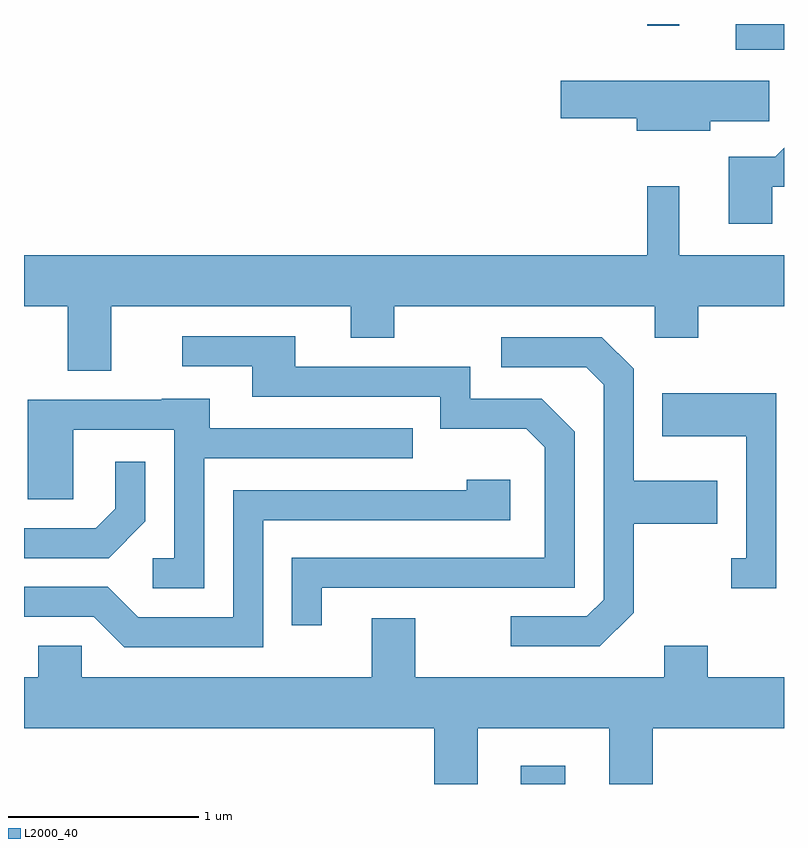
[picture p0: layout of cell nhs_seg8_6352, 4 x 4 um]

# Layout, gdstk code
import gdstk
lib = gdstk.Library(unit=1e-6, precision=1e-09)
def R(c, l, rs):  # rectangles x0, y0, x1, y1
    for r in rs: c.add(gdstk.rectangle(r[:2], r[2:], *l))
def P(c, l, *ps):  # polygons
    for p in ps: c.add(gdstk.Polygon(p, *l))
L2000_40 = (2000, 40)

nhs_seg8_6352 = lib.new_cell('nhs_seg8_6352')
R(nhs_seg8_6352, L2000_40, [(378.226,1838.342,378.459,1838.439), (379.356,1842.206,379.611,1842.342), (378.891,1842.333,379.059,1842.342)])
P(nhs_seg8_6352, L2000_40, [(379.224,1841.831),(379.534,1841.831),(379.534,1842.044),(378.436,1842.044),(378.436,1841.846),(378.836,1841.846),(378.836,1841.781),(379.224,1841.781)],
  [(379.549,1841.486),(379.611,1841.486),(379.611,1841.691),(379.564,1841.644),(379.321,1841.644),(379.321,1841.291),(379.549,1841.291)],
  [(376.069,1840.856),(377.331,1840.856),(377.331,1840.691),(377.559,1840.691),(377.559,1840.856),(378.931,1840.856),(378.931,1840.691),(379.159,1840.691),(379.159,1840.856),(379.611,1840.856),(379.611,1841.124),(379.059,1841.124),(379.059,1841.488),(378.891,1841.488),(378.891,1841.124),(375.611,1841.124),(375.611,1840.856),(375.841,1840.856),(375.841,1840.516),(376.069,1840.516)],
  [(377.179,1839.376),(378.509,1839.376),(378.509,1840.197),(378.337,1840.369),(377.959,1840.369),(377.959,1840.539),(377.039,1840.539),(377.039,1840.699),(376.443,1840.699),(376.443,1840.541),(376.811,1840.541),(376.811,1840.381),(377.801,1840.381),(377.801,1840.211),(378.254,1840.211),(378.351,1840.114),(378.351,1839.534),(377.021,1839.534),(377.021,1839.178),(377.179,1839.178)],
  [(378.819,1839.244),(378.819,1839.711),(379.259,1839.711),(379.259,1839.939),(378.819,1839.939),(378.819,1840.527),(378.652,1840.694),(378.123,1840.694),(378.123,1840.536),(378.569,1840.536),(378.661,1840.444),(378.661,1839.312),(378.574,1839.224),(378.173,1839.224),(378.173,1839.066),(378.642,1839.066)],
  [(379.569,1840.399),(378.971,1840.399),(378.971,1840.171),(379.411,1840.171),(379.411,1839.529),(379.333,1839.529),(379.333,1839.371),(379.569,1839.371)],
  [(376.559,1840.056),(377.658,1840.056),(377.658,1840.214),(376.589,1840.214),(376.589,1840.369),(376.335,1840.369),(376.335,1840.364),(375.631,1840.364),(375.631,1839.841),(375.869,1839.841),(375.869,1840.206),(376.401,1840.206),(376.401,1839.529),(376.288,1839.529),(376.288,1839.371),(376.559,1839.371)],
  [(376.249,1839.724),(376.249,1840.038),(376.091,1840.038),(376.091,1839.792),(375.989,1839.689),(375.611,1839.689),(375.611,1839.531),(376.057,1839.531)],
  [(376.869,1839.731),(378.169,1839.731),(378.169,1839.944),(377.941,1839.944),(377.941,1839.889),(376.711,1839.889),(376.711,1839.219),(376.212,1839.219),(376.052,1839.379),(375.611,1839.379),(375.611,1839.221),(375.979,1839.221),(376.139,1839.061),(376.869,1839.061)],
  [(377.999,1838.636),(378.691,1838.636),(378.691,1838.342),(378.919,1838.342),(378.919,1838.636),(379.611,1838.636),(379.611,1838.904),(379.209,1838.904),(379.209,1839.069),(378.981,1839.069),(378.981,1838.904),(377.669,1838.904),(377.669,1839.214),(377.441,1839.214),(377.441,1838.904),(375.914,1838.904),(375.914,1839.069),(375.686,1839.069),(375.686,1838.904),(375.611,1838.904),(375.611,1838.636),(377.771,1838.636),(377.771,1838.342),(377.999,1838.342)])

lib.write_gds('nhs_seg8_6352.gds')
